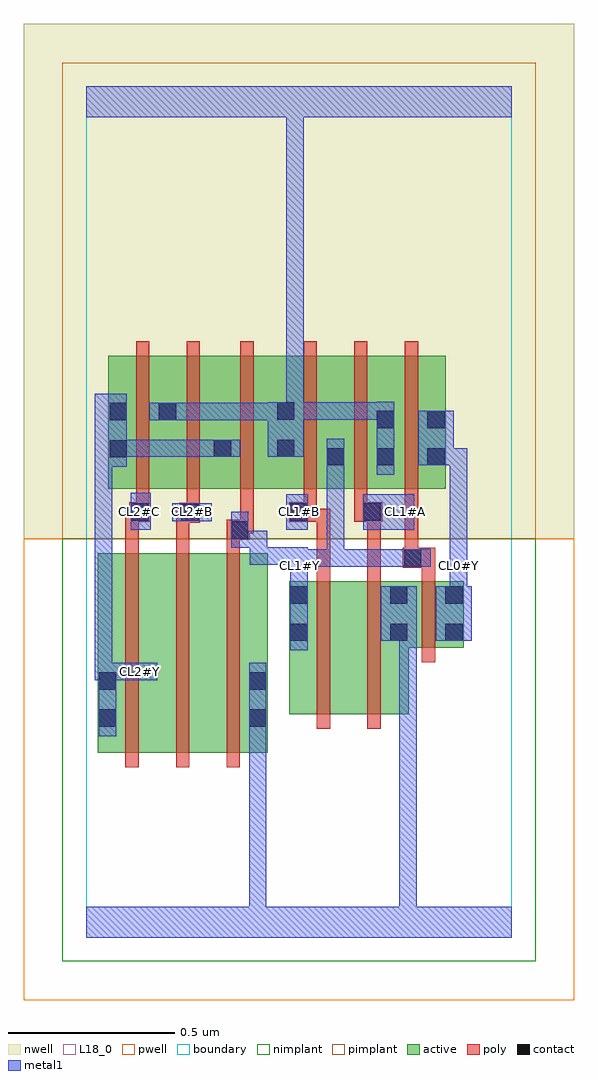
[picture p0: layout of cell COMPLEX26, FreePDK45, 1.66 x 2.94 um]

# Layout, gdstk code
import gdstk
lib = gdstk.Library(unit=1e-6, precision=1e-09)
def R(c, l, rs):  # rectangles x0, y0, x1, y1
    for r in rs: c.add(gdstk.rectangle(r[:2], r[2:], *l))
def A(c, l, x, y, w, h, nx, ny, dx, dy):  # array of equal rectangles
    R(c, l, [(x+i*dx, y+j*dy, x+i*dx+w, y+j*dy+h) for i in range(nx) for j in range(ny)])
active = (1, 0)
pwell = (2, 0)
nwell = (3, 0)
nimplant = (4, 0)
pimplant = (5, 0)
poly = (9, 0)
contact = (10, 0)
metal1 = (11, 0)
L18_0 = (18, 0)
boundary = (235, 0)

complex26 = lib.new_cell('COMPLEX26')
R(complex26, active, [(0.034,0.556,0.094,1.156), (0.034,0.556,0.214,1.156), (0.214,0.556,0.366,1.156), (0.366,0.556,0.546,1.156), (0.486,0.556,0.546,1.156), (0.61,0.672,0.79,1.072), (0.79,0.672,0.97,1.072), (0.91,0.672,0.97,1.06), (0.61,0.756,0.67,1.072), (0.91,0.872,1.136,1.072), (1.076,0.872,1.136,1.072), (0.066,1.35,0.126,1.644), (0.066,1.35,0.274,1.75), (0.214,1.35,0.274,1.644), (0.214,1.35,0.44,1.75), (0.38,1.35,0.44,1.644), (0.38,1.35,0.63,1.75), (0.57,1.35,0.63,1.644), (0.57,1.35,0.78,1.75), (0.72,1.35,0.78,1.644), (0.72,1.35,0.93,1.75), (0.87,1.35,1.082,1.75), (1.022,1.35,1.082,1.644), (0.87,1.416,0.93,1.644)])
R(complex26, pwell, [(-0.188,-0.188,1.468,1.2)])
R(complex26, nwell, [(-0.188,1.2,1.468,2.748)])
R(complex26, nimplant, [(-0.072,-0.072,1.352,1.2)])
R(complex26, pimplant, [(-0.072,1.2,1.352,2.632)])
A(complex26, poly, 0.118, 0.512, 0.04, 0.688, 3, 1, 0.152, 0)
A(complex26, poly, 0.654, 1.306, 0.04, 0.488, 3, 1, 0.152, 0)
R(complex26, poly, [(0.694,0.628,0.734,1.116), (0.846,0.628,0.886,1.116), (1.01,0.828,1.05,1.116), (0.694,1.076,0.734,1.29), (0.846,1.076,0.886,1.29), (1.01,1.076,1.05,1.152), (0.952,1.112,1.05,1.172), (0.958,1.132,0.998,1.346), (0.958,1.132,0.998,1.172), (0.958,1.132,0.998,1.172), (0.118,1.16,0.158,1.29), (0.27,1.16,0.31,1.288), (0.422,1.16,0.462,1.236), (0.422,1.196,0.492,1.256), (0.452,1.216,0.492,1.256), (0.452,1.216,0.504,1.256), (0.464,1.216,0.504,1.346), (0.27,1.248,0.322,1.288), (0.282,1.248,0.322,1.288), (0.282,1.248,0.342,1.308), (0.118,1.25,0.17,1.29), (0.13,1.25,0.17,1.29), (0.13,1.25,0.19,1.31), (0.61,1.25,0.694,1.31), (0.654,1.25,0.694,1.29), (0.654,1.25,0.734,1.29), (0.806,1.25,0.89,1.31), (0.846,1.25,0.886,1.29), (0.846,1.25,0.886,1.29), (0.302,1.268,0.342,1.346), (0.15,1.27,0.19,1.346), (0.654,1.27,0.694,1.346), (0.806,1.27,0.846,1.346), (0.15,1.306,0.19,1.794), (0.302,1.306,0.342,1.794), (0.464,1.306,0.504,1.794)])
R(complex26, contact, [(0.038,0.634,0.09,0.686), (0.49,0.634,0.542,0.686), (0.038,0.746,0.09,0.798), (0.49,0.746,0.542,0.798), (0.614,0.892,0.666,0.944), (0.914,0.892,0.966,0.944), (1.08,0.892,1.132,0.944), (0.614,1.004,0.666,1.056), (0.914,1.004,0.966,1.056), (1.08,1.004,1.132,1.056), (0.956,1.116,1.008,1.168), (0.436,1.2,0.488,1.252), (0.286,1.252,0.338,1.304), (0.134,1.254,0.186,1.306), (0.614,1.254,0.666,1.306), (0.834,1.254,0.886,1.306), (0.724,1.42,0.776,1.472), (0.874,1.42,0.926,1.472), (1.026,1.42,1.078,1.472), (0.07,1.444,0.122,1.496), (0.384,1.446,0.436,1.498), (0.574,1.446,0.626,1.498), (0.874,1.532,0.926,1.584), (1.026,1.532,1.078,1.584), (0.07,1.556,0.122,1.608), (0.218,1.556,0.27,1.608), (0.574,1.558,0.626,1.61)])
R(complex26, metal1, [(0,0,1.28,0.092), (0.49,0.04,0.542,0.092), (0.49,0.04,0.542,0.092), (0.49,0.04,0.542,0.092), (0.49,0.04,0.542,0.092), (0.49,0.04,0.542,0.658), (0.942,0.04,0.994,0.944), (0.038,0.606,0.09,0.826), (0.49,0.606,0.542,0.658), (0.49,0.606,0.542,0.658), (0.49,0.606,0.542,0.658), (0.49,0.606,0.542,0.658), (0.49,0.606,0.542,0.826), (0.026,0.774,0.078,0.826), (0.026,0.774,0.078,0.826), (0.026,0.774,0.078,1.468), (0.026,0.774,0.214,0.826), (0.038,0.774,0.09,0.826), (0.614,0.864,0.666,1.084), (0.886,0.892,0.994,1.056), (0.942,0.892,0.994,0.944), (0.942,0.892,0.994,0.944), (0.942,0.892,0.994,0.944), (0.942,0.892,0.994,0.944), (0.942,0.892,0.994,0.944), (0.942,0.892,0.994,0.944), (0.942,0.892,0.994,0.944), (0.942,0.892,0.994,0.944), (0.942,0.892,0.994,0.944), (0.942,0.892,0.994,0.944), (0.942,0.892,0.994,0.944), (0.942,0.892,0.994,0.944), (1.052,0.892,1.16,1.056), (1.094,1.004,1.146,1.118), (0.614,1.032,0.666,1.118), (0.614,1.066,0.666,1.174), (1.094,1.066,1.146,1.174), (0.614,1.116,0.666,1.168), (0.614,1.116,0.666,1.168), (0.614,1.116,0.776,1.168), (0.724,1.116,0.776,1.168), (0.724,1.116,0.776,1.168), (0.724,1.116,0.776,1.168), (0.724,1.116,0.776,1.168), (0.724,1.116,0.776,1.168), (0.724,1.116,0.886,1.168), (0.724,1.116,0.776,1.444), (0.834,1.116,0.886,1.168), (0.834,1.116,0.98,1.168), (0.928,1.116,1.036,1.168), (0.492,1.122,0.666,1.174), (0.492,1.122,0.544,1.224), (1.094,1.122,1.146,1.472), (0.436,1.172,0.488,1.28), (0.436,1.172,0.544,1.224), (0.134,1.226,0.194,1.338), (0.602,1.226,0.666,1.334), (0.834,1.226,0.986,1.334), (0.258,1.252,0.378,1.306), (0.724,1.392,0.776,1.5), (0.874,1.392,0.926,1.612), (0.026,1.416,0.122,1.636), (0.998,1.42,1.106,1.584), (1.054,1.42,1.106,1.472), (1.054,1.42,1.146,1.472), (0.07,1.446,0.122,1.498), (0.07,1.446,0.122,1.498), (0.07,1.446,0.298,1.498), (0.246,1.446,0.298,1.498), (0.246,1.446,0.298,1.498), (0.246,1.446,0.298,1.498), (0.246,1.446,0.408,1.498), (0.356,1.446,0.464,1.498), (0.546,1.446,0.654,1.61), (0.19,1.556,0.298,1.608), (0.246,1.556,0.298,1.608), (0.246,1.556,0.298,1.608), (0.246,1.556,0.432,1.608), (0.38,1.556,0.432,1.608), (0.38,1.556,0.432,1.608), (0.38,1.556,0.432,1.608), (0.38,1.556,0.542,1.608), (0.49,1.556,0.542,1.608), (0.49,1.556,0.598,1.608), (0.602,1.558,0.654,1.61), (0.602,1.558,0.654,1.61), (0.602,1.558,0.654,1.61), (0.602,1.558,0.654,1.61), (0.602,1.558,0.654,1.61), (0.602,1.558,0.654,1.61), (0.602,1.558,0.654,1.61), (0.602,1.558,0.654,1.61), (0.602,1.558,0.654,1.61), (0.602,1.558,0.654,1.61), (0.602,1.558,0.776,1.61), (0.602,1.558,0.654,2.52), (0.724,1.558,0.776,1.61), (0.724,1.558,0.776,1.61), (0.724,1.558,0.776,1.61), (0.724,1.558,0.926,1.61), (0,2.468,1.28,2.56), (0.602,2.468,0.654,2.52), (0.602,2.468,0.654,2.52), (0.602,2.468,0.654,2.52), (0.602,2.468,0.654,2.52), (0.602,2.468,0.654,2.52), (0.602,2.468,0.654,2.52), (0.602,2.468,0.654,2.52), (0.602,2.468,0.654,2.52)])
A(complex26, L18_0, 0.294, 1.254, 0.052, 0.052, 3, 1, 0.32, 0)
R(complex26, L18_0, [(0,0,1.28,0.092), (0.49,0.04,0.542,0.092), (0.49,0.04,0.542,0.092), (0.49,0.04,0.542,0.092), (0.49,0.04,0.542,0.092), (0.49,0.04,0.542,0.658), (0.942,0.04,0.994,0.944), (0.038,0.606,0.09,0.826), (0.49,0.606,0.542,0.826), (0.49,0.606,0.542,0.658), (0.49,0.606,0.542,0.658), (0.49,0.606,0.542,0.658), (0.49,0.606,0.542,0.658), (0.026,0.774,0.214,0.826), (0.026,0.774,0.078,0.826), (0.026,0.774,0.078,0.826), (0.026,0.774,0.078,1.468), (0.038,0.774,0.09,0.826), (0.134,0.774,0.186,0.826), (0.614,0.864,0.666,1.084), (0.886,0.892,0.994,1.056), (0.942,0.892,0.994,0.944), (0.942,0.892,0.994,0.944), (0.942,0.892,0.994,0.944), (0.942,0.892,0.994,0.944), (0.942,0.892,0.994,0.944), (0.942,0.892,0.994,0.944), (0.942,0.892,0.994,0.944), (0.942,0.892,0.994,0.944), (0.942,0.892,0.994,0.944), (0.942,0.892,0.994,0.944), (0.942,0.892,0.994,0.944), (0.942,0.892,0.994,0.944), (1.052,0.892,1.16,1.056), (1.094,1.004,1.146,1.118), (0.614,1.032,0.666,1.118), (0.614,1.066,0.666,1.174), (1.094,1.066,1.146,1.174), (0.614,1.094,0.666,1.146), (1.094,1.094,1.146,1.146), (0.614,1.116,0.666,1.168), (0.614,1.116,0.666,1.168), (0.614,1.116,0.776,1.168), (0.724,1.116,0.776,1.168), (0.724,1.116,0.776,1.168), (0.724,1.116,0.776,1.168), (0.724,1.116,0.776,1.168), (0.724,1.116,0.776,1.168), (0.724,1.116,0.886,1.168), (0.724,1.116,0.776,1.444), (0.834,1.116,0.886,1.168), (0.834,1.116,0.98,1.168), (0.928,1.116,1.036,1.168), (0.492,1.122,0.544,1.224), (0.492,1.122,0.666,1.174), (1.094,1.122,1.146,1.472), (0.436,1.172,0.544,1.224), (0.436,1.172,0.488,1.28), (0.134,1.226,0.194,1.338), (0.602,1.226,0.666,1.334), (0.834,1.226,0.986,1.334), (0.258,1.252,0.378,1.306), (0.134,1.254,0.186,1.306), (0.724,1.392,0.776,1.5), (0.874,1.392,0.926,1.612), (0.026,1.416,0.122,1.636), (0.998,1.42,1.106,1.584), (1.054,1.42,1.106,1.472), (1.054,1.42,1.146,1.472), (0.07,1.446,0.122,1.498), (0.07,1.446,0.122,1.498), (0.07,1.446,0.298,1.498), (0.246,1.446,0.298,1.498), (0.246,1.446,0.298,1.498), (0.246,1.446,0.298,1.498), (0.246,1.446,0.408,1.498), (0.356,1.446,0.464,1.498), (0.546,1.446,0.654,1.61), (0.19,1.556,0.298,1.608), (0.246,1.556,0.298,1.608), (0.246,1.556,0.298,1.608), (0.246,1.556,0.432,1.608), (0.38,1.556,0.432,1.608), (0.38,1.556,0.432,1.608), (0.38,1.556,0.432,1.608), (0.38,1.556,0.542,1.608), (0.49,1.556,0.542,1.608), (0.49,1.556,0.598,1.608), (0.602,1.558,0.654,1.61), (0.602,1.558,0.654,1.61), (0.602,1.558,0.654,1.61), (0.602,1.558,0.654,1.61), (0.602,1.558,0.654,1.61), (0.602,1.558,0.654,1.61), (0.602,1.558,0.654,1.61), (0.602,1.558,0.654,1.61), (0.602,1.558,0.654,1.61), (0.602,1.558,0.654,1.61), (0.602,1.558,0.776,1.61), (0.602,1.558,0.654,2.52), (0.724,1.558,0.776,1.61), (0.724,1.558,0.776,1.61), (0.724,1.558,0.776,1.61), (0.724,1.558,0.926,1.61), (0,2.468,1.28,2.56), (0.602,2.468,0.654,2.52), (0.602,2.468,0.654,2.52), (0.602,2.468,0.654,2.52), (0.602,2.468,0.654,2.52), (0.602,2.468,0.654,2.52), (0.602,2.468,0.654,2.52), (0.602,2.468,0.654,2.52), (0.602,2.468,0.654,2.52)])
R(complex26, boundary, [(0,0,1.28,2.56)])
complex26.add(gdstk.Label('CL0#Y', (1.12,1.12), layer=11, texttype=0))
complex26.add(gdstk.Label('CL1#A', (0.96,1.28), layer=11, texttype=0))
complex26.add(gdstk.Label('CL1#B', (0.64,1.28), layer=11, texttype=0))
complex26.add(gdstk.Label('CL1#Y', (0.64,1.12), layer=11, texttype=0))
complex26.add(gdstk.Label('CL2#B', (0.32,1.28), layer=11, texttype=0))
complex26.add(gdstk.Label('CL2#C', (0.16,1.28), layer=11, texttype=0))
complex26.add(gdstk.Label('CL2#Y', (0.16,0.8), layer=11, texttype=0))

lib.write_gds('COMPLEX26.gds')
